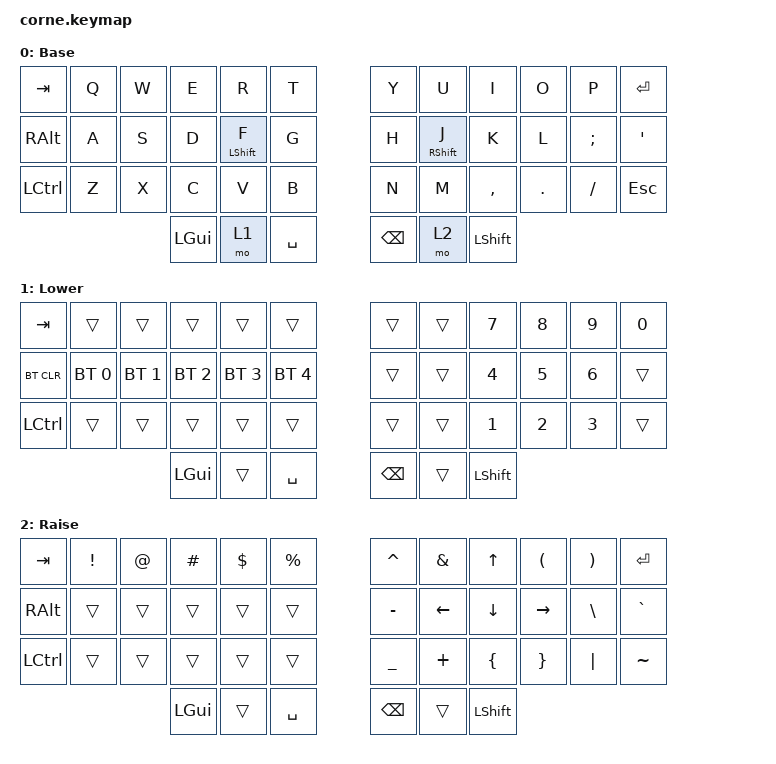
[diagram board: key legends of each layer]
/*
 * Comfortable baseline Corne layout (QWERTY) for daily use.
 * Adapted from the Typeractive Corne wireless templates.
 */

#include <behaviors.dtsi>
#include <dt-bindings/zmk/keys.h>
#include <dt-bindings/zmk/bt.h>

/ {
    keymap {
        compatible = "zmk,keymap";

        default_layer {
            display-name = "Base";
            bindings = <
                &kp TAB    &kp Q    &kp W     &kp E     &kp R      &kp T        &kp Y      &kp U      &kp I      &kp O      &kp P      &kp RET
                &kp RALT   &kp A    &kp S     &kp D     &mt LSHFT F &kp G       &kp H      &mt RSHFT J &kp K      &kp L      &kp SEMI   &kp SQT
                &kp LCTRL  &kp Z    &kp X     &kp C     &kp V      &kp B        &kp N      &kp M      &kp COMMA  &kp DOT    &kp FSLH   &kp ESC
                                     &kp LGUI  &mo 1     &kp SPACE  &kp BSPC     &mo 2      &kp LSHFT
            >;
        };

        lower_layer {
            display-name = "Lower";
            bindings = <
                &kp TAB    &trans       &trans       &trans       &trans       &trans        &trans    &trans    &kp N7    &kp N8    &kp N9    &kp N0
                &bt BT_CLR &bt BT_SEL 0 &bt BT_SEL 1 &bt BT_SEL 2 &bt BT_SEL 3 &bt BT_SEL 4  &trans    &trans    &kp N4    &kp N5    &kp N6    &trans
                &kp LCTRL  &trans       &trans       &trans       &trans       &trans        &trans    &trans    &kp N1    &kp N2    &kp N3    &trans
                                       &kp LGUI      &trans       &kp SPACE     &kp BSPC      &trans    &kp LSHFT
            >;
        };

        raise_layer {
            display-name = "Raise";
            bindings = <
                &kp TAB    &kp EXCL   &kp AT     &kp HASH   &kp DLLR   &kp PRCNT   &kp CARET  &kp AMPS   &kp UP          &kp LPAR   &kp RPAR   &kp RET
                &kp RALT   &trans     &trans     &trans     &trans     &trans      &kp MINUS  &kp LEFT   &kp DOWN        &kp RIGHT  &kp BSLH   &kp GRAVE
                &kp LCTRL  &trans     &trans     &trans     &trans     &trans      &kp UNDER  &kp PLUS   &kp LBRC        &kp RBRC   &kp PIPE   &kp TILDE
                                     &kp LGUI    &trans     &kp SPACE  &kp BSPC    &trans     &kp LSHFT
            >;
        };

        extra_1 { status = "reserved"; };
        extra_2 { status = "reserved"; };
        extra_3 { status = "reserved"; };
    };
};
